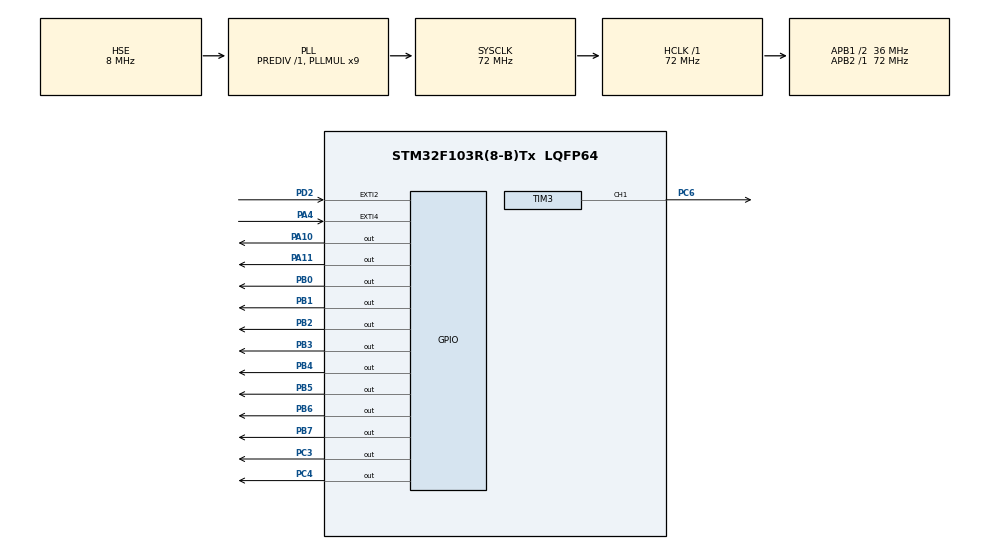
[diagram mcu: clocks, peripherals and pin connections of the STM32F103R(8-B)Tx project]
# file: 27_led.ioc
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Mcu.Family=STM32F1
Mcu.Name=STM32F103R(8-B)Tx
Mcu.Package=LQFP64
NVIC.EXTI2_IRQn=true\:0\:0\:false\:false\:true\:true\:true\:true
NVIC.EXTI4_IRQn=true\:0\:0\:false\:false\:true\:true\:true\:true
NVIC.PriorityGroup=NVIC_PRIORITYGROUP_4
PA10.Signal=GPIO_Output
PA11.Signal=GPIO_Output
PA13.Mode=Serial_Wire
PA13.Signal=SYS_JTMS-SWDIO
PA14.Mode=Serial_Wire
PA14.Signal=SYS_JTCK-SWCLK
PA4.GPIO_ModeDefaultEXTI=GPIO_MODE_IT_FALLING
PA4.Signal=GPXTI4
PB0.Signal=GPIO_Output
PB1.Signal=GPIO_Output
PB2.Signal=GPIO_Output
PB3.Signal=GPIO_Output
PB4.Signal=GPIO_Output
PB5.Signal=GPIO_Output
PB6.Signal=GPIO_Output
PB7.Signal=GPIO_Output
PC14-OSC32_IN.Mode=LSE-External-Oscillator
PC14-OSC32_IN.Signal=RCC_OSC32_IN
PC15-OSC32_OUT.Mode=LSE-External-Oscillator
PC15-OSC32_OUT.Signal=RCC_OSC32_OUT
PC3.Signal=GPIO_Output
PC4.Signal=GPIO_Output
PC6.Signal=S_TIM3_CH1
PD0-OSC_IN.Mode=HSE-External-Clock-Source
PD0-OSC_IN.Signal=RCC_OSC_IN
PD1-OSC_OUT.Mode=HSE-External-Clock-Source
PD1-OSC_OUT.Signal=RCC_OSC_OUT
PD2.GPIO_ModeDefaultEXTI=GPIO_MODE_IT_FALLING
PD2.Signal=GPXTI2
ProjectManager.HeapSize=0x200
ProjectManager.StackSize=0x400
ProjectManager.TargetToolchain=STM32CubeIDE
RCC.ADCPresc=RCC_ADCPCLK2_DIV6
RCC.AHBFreq_Value=72000000
RCC.APB1CLKDivider=RCC_HCLK_DIV2
RCC.APB1Freq_Value=36000000
RCC.APB1TimFreq_Value=72000000
RCC.APB2Freq_Value=72000000
RCC.APB2TimFreq_Value=72000000
RCC.HCLKFreq_Value=72000000
RCC.PLLMUL=RCC_PLL_MUL9
RCC.PLLSourceVirtual=RCC_PLLSOURCE_HSE
RCC.SYSCLKFreq_VALUE=72000000
RCC.SYSCLKSource=RCC_SYSCLKSOURCE_PLLCLK
RCC.USBFreq_Value=72000000
SH.S_TIM3_CH1.0=TIM3_CH1,PWM Generation1 CH1
TIM3.AutoReloadPreload=TIM_AUTORELOAD_PRELOAD_ENABLE
TIM3.Channel-PWM\ Generation1\ CH1=TIM_CHANNEL_1
TIM3.Period=10000-1
TIM3.Prescaler=72-1
VP_TIM3_VS_ClockSourceINT.Mode=Internal
board=custom

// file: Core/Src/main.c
/* USER CODE BEGIN Header */
/**
  ******************************************************************************
  * @file           : main.c
  * @brief          : Main program body
  ******************************************************************************
  * @attention
  *
  * Copyright (c) 2023 STMicroelectronics.
  * All rights reserved.
  *
  * This software is licensed under terms that can be found in the LICENSE file
  * in the root directory of this software component.
  * If no LICENSE file comes with this software, it is provided AS-IS.
  *
  ******************************************************************************
  */
/* USER CODE END Header */
#include "main.h"

TIM_HandleTypeDef htim3;

/* USER CODE BEGIN PV */
uint8_t number[] = {0x3f, 0x06, 0x5b, 0x4f, 0x66, 0x6d, 0x7d, 0x07, 0x7f, 0x67};
volatile uint16_t led_ccr1;
uint16_t led_1000, led_100, led_10, led_1;
/* USER CODE END PV */

void SystemClock_Config(void);
static void MX_GPIO_Init(void);
static void MX_TIM3_Init(void);

/* USER CODE BEGIN 0 */
typedef struct fnd{
	GPIO_TypeDef *port;
	uint16_t pin;
} FND;

FND value[8] ={
		{GPIOB, GPIO_PIN_0}, {GPIOB, GPIO_PIN_1},
		{GPIOB, GPIO_PIN_2}, {GPIOB, GPIO_PIN_3},
		{GPIOB, GPIO_PIN_4}, {GPIOB, GPIO_PIN_5},
		{GPIOB, GPIO_PIN_6}, {GPIOB, GPIO_PIN_7}
};

FND sel[4] ={
		{GPIOA, GPIO_PIN_10}, {GPIOA, GPIO_PIN_11},
		{GPIOC, GPIO_PIN_4}, {GPIOC, GPIO_PIN_3}
};

void display_fnd(uint8_t data, uint8_t position, uint32_t time) {
   int i;
   for(i = 0; i < 4; i++) {
      if(i == position) {
         HAL_GPIO_WritePin(sel[i].port, sel[i].pin, GPIO_PIN_SET);
      } else {
         HAL_GPIO_WritePin(sel[i].port, sel[i].pin, GPIO_PIN_RESET);
      }
   }
   for(i = 0; i < 8; i++) {
      if((data & (1 << i)) != 0){
         HAL_GPIO_WritePin(value[i].port, value[i].pin, GPIO_PIN_SET);
      } else {
         HAL_GPIO_WritePin(value[i].port, value[i].pin, GPIO_PIN_RESET);
      }
   }
   HAL_Delay(time);
}
/* USER CODE END 0 */

int main(void)
{

  /* MCU Configuration--------------------------------------------------------*/

  /* Reset of all peripherals, Initializes the Flash interface and the Systick. */
  HAL_Init();

  /* Configure the system clock */
  SystemClock_Config();

  /* Initialize all configured peripherals */
  MX_GPIO_Init();
  MX_TIM3_Init();

  /* Infinite loop */
  /* USER CODE BEGIN WHILE */
  while (1)
  {
	  led_1000 = led_ccr1 / 1000; //1000의 자리
	  led_100 = (led_ccr1 % 1000) / 100; //100의 자리
	  led_10 = ((led_ccr1 % 1000) % 100) / 10; //10의 자리
	  led_1 = ((led_ccr1 % 1000) % 100) % 10; //1의 자리

	  display_fnd(number[led_1000], 3, 5);
	  display_fnd(number[led_100], 2, 5);
	  display_fnd(number[led_10], 1, 5);
	  display_fnd(number[led_1], 0, 5);
    /* USER CODE END WHILE */

  }
}

void SystemClock_Config(void)
{
  RCC_OscInitTypeDef RCC_OscInitStruct = {0};
  RCC_ClkInitTypeDef RCC_ClkInitStruct = {0};

  /** Initializes the RCC Oscillators according to the specified parameters
  * in the RCC_OscInitTypeDef structure.
  */
  RCC_OscInitStruct.OscillatorType = RCC_OSCILLATORTYPE_HSE;
  RCC_OscInitStruct.HSEState = RCC_HSE_BYPASS;
  RCC_OscInitStruct.HSEPredivValue = RCC_HSE_PREDIV_DIV1;
  RCC_OscInitStruct.HSIState = RCC_HSI_ON;
  RCC_OscInitStruct.PLL.PLLState = RCC_PLL_ON;
  RCC_OscInitStruct.PLL.PLLSource = RCC_PLLSOURCE_HSE;
  RCC_OscInitStruct.PLL.PLLMUL = RCC_PLL_MUL9;
  if (HAL_RCC_OscConfig(&RCC_OscInitStruct) != HAL_OK)
  {
    Error_Handler();
  }

  /** Initializes the CPU, AHB and APB buses clocks
  */
  RCC_ClkInitStruct.ClockType = RCC_CLOCKTYPE_HCLK|RCC_CLOCKTYPE_SYSCLK
                              |RCC_CLOCKTYPE_PCLK1|RCC_CLOCKTYPE_PCLK2;
  RCC_ClkInitStruct.SYSCLKSource = RCC_SYSCLKSOURCE_PLLCLK;
  RCC_ClkInitStruct.AHBCLKDivider = RCC_SYSCLK_DIV1;
  RCC_ClkInitStruct.APB1CLKDivider = RCC_HCLK_DIV2;
  RCC_ClkInitStruct.APB2CLKDivider = RCC_HCLK_DIV1;

  if (HAL_RCC_ClockConfig(&RCC_ClkInitStruct, FLASH_LATENCY_2) != HAL_OK)
  {
    Error_Handler();
  }
}

static void MX_TIM3_Init(void)
{

  TIM_ClockConfigTypeDef sClockSourceConfig = {0};
  TIM_MasterConfigTypeDef sMasterConfig = {0};
  TIM_OC_InitTypeDef sConfigOC = {0};

  htim3.Instance = TIM3;
  htim3.Init.Prescaler = 72-1;
  htim3.Init.CounterMode = TIM_COUNTERMODE_UP;
  htim3.Init.Period = 10000-1;
  htim3.Init.ClockDivision = TIM_CLOCKDIVISION_DIV1;
  htim3.Init.AutoReloadPreload = TIM_AUTORELOAD_PRELOAD_ENABLE;
  if (HAL_TIM_Base_Init(&htim3) != HAL_OK)
  {
    Error_Handler();
  }
  sClockSourceConfig.ClockSource = TIM_CLOCKSOURCE_INTERNAL;
  if (HAL_TIM_ConfigClockSource(&htim3, &sClockSourceConfig) != HAL_OK)
  {
    Error_Handler();
  }
  if (HAL_TIM_PWM_Init(&htim3) != HAL_OK)
  {
    Error_Handler();
  }
  sMasterConfig.MasterOutputTrigger = TIM_TRGO_RESET;
  sMasterConfig.MasterSlaveMode = TIM_MASTERSLAVEMODE_DISABLE;
  if (HAL_TIMEx_MasterConfigSynchronization(&htim3, &sMasterConfig) != HAL_OK)
  {
    Error_Handler();
  }
  sConfigOC.OCMode = TIM_OCMODE_PWM1;
  sConfigOC.Pulse = 0;
  sConfigOC.OCPolarity = TIM_OCPOLARITY_HIGH;
  sConfigOC.OCFastMode = TIM_OCFAST_DISABLE;
  if (HAL_TIM_PWM_ConfigChannel(&htim3, &sConfigOC, TIM_CHANNEL_1) != HAL_OK)
  {
    Error_Handler();
  }
  HAL_TIM_MspPostInit(&htim3);

}

static void MX_GPIO_Init(void)
{
  GPIO_InitTypeDef GPIO_InitStruct = {0};

  /* GPIO Ports Clock Enable */
  __HAL_RCC_GPIOC_CLK_ENABLE();
  __HAL_RCC_GPIOD_CLK_ENABLE();
  __HAL_RCC_GPIOA_CLK_ENABLE();
  __HAL_RCC_GPIOB_CLK_ENABLE();

  /*Configure GPIO pin Output Level */
  HAL_GPIO_WritePin(GPIOC, GPIO_PIN_3|GPIO_PIN_4, GPIO_PIN_RESET);

  /*Configure GPIO pin Output Level */
  HAL_GPIO_WritePin(GPIOB, GPIO_PIN_0|GPIO_PIN_1|GPIO_PIN_2|GPIO_PIN_3
                          |GPIO_PIN_4|GPIO_PIN_5|GPIO_PIN_6|GPIO_PIN_7, GPIO_PIN_RESET);

  /*Configure GPIO pin Output Level */
  HAL_GPIO_WritePin(GPIOA, GPIO_PIN_10|GPIO_PIN_11, GPIO_PIN_RESET);

  /*Configure GPIO pins : PC3 PC4 */
  GPIO_InitStruct.Pin = GPIO_PIN_3|GPIO_PIN_4;
  GPIO_InitStruct.Mode = GPIO_MODE_OUTPUT_PP;
  GPIO_InitStruct.Pull = GPIO_NOPULL;
  GPIO_InitStruct.Speed = GPIO_SPEED_FREQ_LOW;
  HAL_GPIO_Init(GPIOC, &GPIO_InitStruct);

  /*Configure GPIO pin : PA4 */
  GPIO_InitStruct.Pin = GPIO_PIN_4;
  GPIO_InitStruct.Mode = GPIO_MODE_IT_FALLING;
  GPIO_InitStruct.Pull = GPIO_NOPULL;
  HAL_GPIO_Init(GPIOA, &GPIO_InitStruct);

  /*Configure GPIO pins : PB0 PB1 PB2 PB3
                           PB4 PB5 PB6 PB7 */
  GPIO_InitStruct.Pin = GPIO_PIN_0|GPIO_PIN_1|GPIO_PIN_2|GPIO_PIN_3
                          |GPIO_PIN_4|GPIO_PIN_5|GPIO_PIN_6|GPIO_PIN_7;
  GPIO_InitStruct.Mode = GPIO_MODE_OUTPUT_PP;
  GPIO_InitStruct.Pull = GPIO_NOPULL;
  GPIO_InitStruct.Speed = GPIO_SPEED_FREQ_LOW;
  HAL_GPIO_Init(GPIOB, &GPIO_InitStruct);

  /*Configure GPIO pins : PA10 PA11 */
  GPIO_InitStruct.Pin = GPIO_PIN_10|GPIO_PIN_11;
  GPIO_InitStruct.Mode = GPIO_MODE_OUTPUT_PP;
  GPIO_InitStruct.Pull = GPIO_NOPULL;
  GPIO_InitStruct.Speed = GPIO_SPEED_FREQ_LOW;
  HAL_GPIO_Init(GPIOA, &GPIO_InitStruct);

  /*Configure GPIO pin : PD2 */
  GPIO_InitStruct.Pin = GPIO_PIN_2;
  GPIO_InitStruct.Mode = GPIO_MODE_IT_FALLING;
  GPIO_InitStruct.Pull = GPIO_NOPULL;
  HAL_GPIO_Init(GPIOD, &GPIO_InitStruct);

  /* EXTI interrupt init*/
  HAL_NVIC_SetPriority(EXTI2_IRQn, 0, 0);
  HAL_NVIC_EnableIRQ(EXTI2_IRQn);

  HAL_NVIC_SetPriority(EXTI4_IRQn, 0, 0);
  HAL_NVIC_EnableIRQ(EXTI4_IRQn);

}

/* USER CODE BEGIN 4 */
void HAL_GPIO_EXTI_Callback(uint16_t GPIO_Pin) {
  if (!HAL_GPIO_ReadPin(GPIOA, GPIO_PIN_4)) {
    if (led_ccr1 != 1000) {
      led_ccr1 += 50;
      __HAL_TIM_SET_COMPARE(&htim3, TIM_CHANNEL_1, led_ccr1);
    } else {
      led_ccr1 = 1000;
      __HAL_TIM_SET_COMPARE(&htim3, TIM_CHANNEL_1, led_ccr1);
    }
  }
  if (!HAL_GPIO_ReadPin(GPIOD, GPIO_PIN_2)) {
    if (led_ccr1 != 0) {
      led_ccr -= 50;
      __HAL_TIM_SET_COMPARE(&htim3, TIM_CHANNEL_1, led_ccr1);
    } else {
      led_ccr1 = 0;
      __HAL_TIM_SET_COMPARE(&htim3, TIM_CHANNEL_1, led_ccr1);
    }
  }
}

/* USER CODE END 4 */

void Error_Handler(void)
{
  __disable_irq();
  while (1)
  {
  }
}
